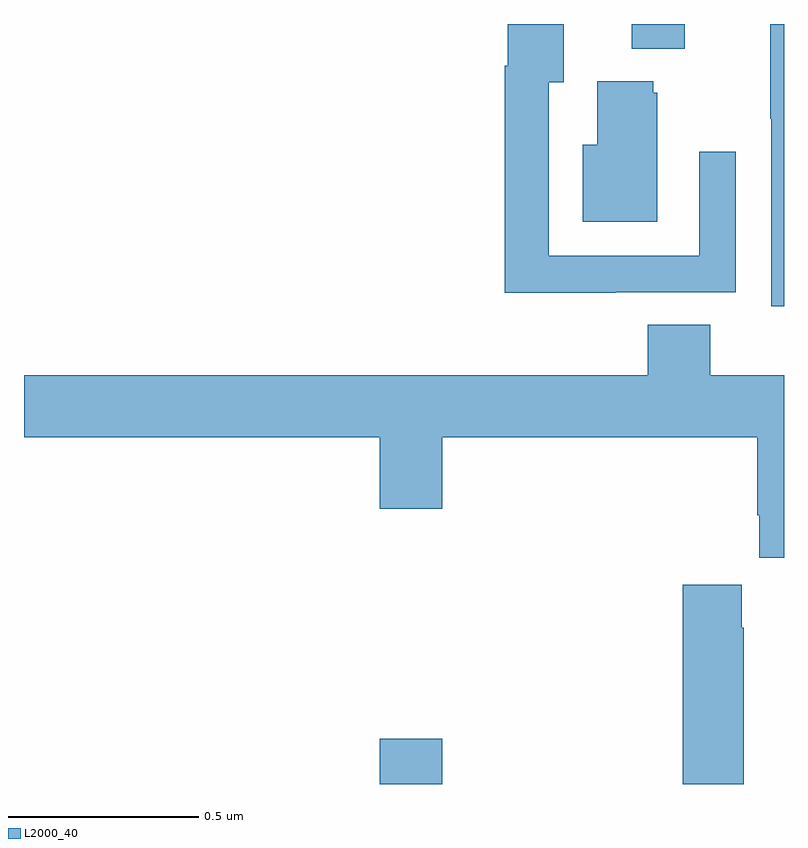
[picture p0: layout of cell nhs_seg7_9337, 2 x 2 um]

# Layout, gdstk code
import gdstk
lib = gdstk.Library(unit=1e-6, precision=1e-09)
def R(c, l, rs):  # rectangles x0, y0, x1, y1
    for r in rs: c.add(gdstk.rectangle(r[:2], r[2:], *l))
def P(c, l, *ps):  # polygons
    for p in ps: c.add(gdstk.Polygon(p, *l))
L2000_40 = (2000, 40)

nhs_seg7_9337 = lib.new_cell('nhs_seg7_9337')
R(nhs_seg7_9337, L2000_40, [(236.936,1037,237.1,1037.119), (237.599,1038.935,237.739,1039)])
P(nhs_seg7_9337, L2000_40, [(238,1039),(237.964,1039),(237.964,1038.751),(237.966,1038.751),(237.966,1038.257),(238,1038.257)],
  [(237.557,1038.294),(237.873,1038.294),(237.873,1038.664),(237.777,1038.664),(237.777,1038.39),(237.381,1038.39),(237.381,1038.847),(237.421,1038.847),(237.421,1039),(237.273,1039),(237.273,1038.89),(237.265,1038.89),(237.265,1038.293),(237.557,1038.293)],
  [(237.667,1038.819),(237.656,1038.819),(237.656,1038.85),(237.509,1038.85),(237.509,1038.682),(237.47,1038.682),(237.47,1038.479),(237.667,1038.479)],
  [(238,1038.076),(237.806,1038.076),(237.806,1038.209),(237.641,1038.209),(237.641,1038.076),(236,1038.076),(236,1037.912),(236.936,1037.912),(236.936,1037.724),(237.1,1037.724),(237.1,1037.912),(237.929,1037.912),(237.929,1037.707),(237.935,1037.707),(237.935,1037.595),(238,1037.595)],
  [(237.894,1037.411),(237.889,1037.411),(237.889,1037.524),(237.734,1037.524),(237.734,1037),(237.894,1037)])

lib.write_gds('nhs_seg7_9337.gds')
